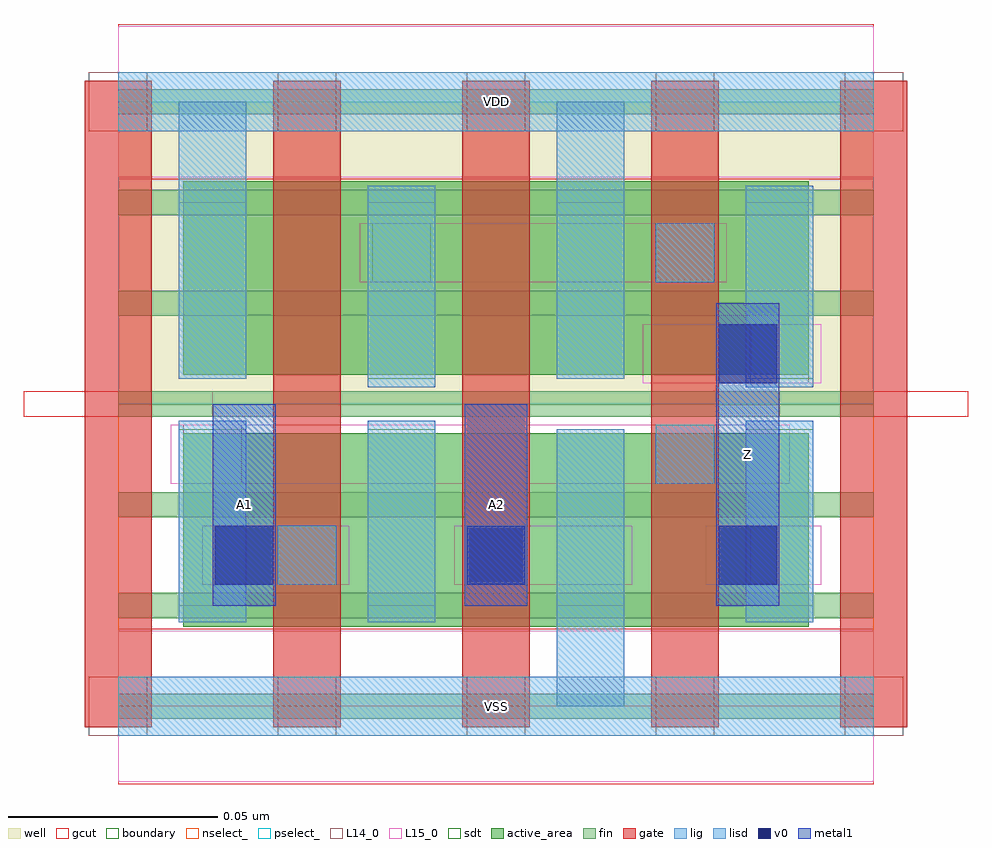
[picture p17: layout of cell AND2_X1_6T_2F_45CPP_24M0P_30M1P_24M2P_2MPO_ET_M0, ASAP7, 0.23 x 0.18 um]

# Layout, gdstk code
import gdstk
lib = gdstk.Library(unit=1e-6, precision=2.5e-10)
def R(c, l, rs):  # rectangles x0, y0, x1, y1
    for r in rs: c.add(gdstk.rectangle(r[:2], r[2:], *l))
def A(c, l, x, y, w, h, nx, ny, dx, dy):  # array of equal rectangles
    R(c, l, [(x+i*dx, y+j*dy, x+i*dx+w, y+j*dy+h) for i in range(nx) for j in range(ny)])
well = (1, 0)
fin = (2, 0)
gate = (7, 0)
gcut = (10, 0)
active_area = (11, 0)
nselect_ = (12, 0)
pselect_ = (13, 0)
L14_0 = (14, 0)
L15_0 = (15, 0)
lig = (16, 0)
lisd = (17, 0)
v0 = (18, 0)
metal1 = (19, 0)
sdt = (88, 0)
boundary = (100, 0)

and2_x1_6t_2f_45cpp_24m0 = lib.new_cell('AND2_X1_6T_2F_45CPP_24M0P_30M1P_24M2P_2MPO_ET_M0')
R(and2_x1_6t_2f_45cpp_24m0, well, [(0,0.072,0.18,0.144)])
A(and2_x1_6t_2f_45cpp_24m0, fin, 0, -0.003, 0.18, 0.006, 1, 7, 0, 0.024)
A(and2_x1_6t_2f_45cpp_24m0, gate, -0.008, -0.005, 0.016, 0.154, 5, 1, 0.045, 0)
R(and2_x1_6t_2f_45cpp_24m0, gcut, [(0,-0.0185,0.18,0.0185), (-0.0225,0.069,0.0225,0.075), (0.1575,0.069,0.2025,0.075), (0,0.1255,0.18,0.1625)])
A(and2_x1_6t_2f_45cpp_24m0, active_area, 0.0155, 0.019, 0.059, 0.046, 3, 2, 0.045, 0.06)
R(and2_x1_6t_2f_45cpp_24m0, nselect_, [(0,0,0.18,0.072)])
R(and2_x1_6t_2f_45cpp_24m0, pselect_, [(0,0.072,0.18,0.144)])
A(and2_x1_6t_2f_45cpp_24m0, L14_0, -0.007, -0.007, 0.014, 0.014, 5, 2, 0.045, 0.144)
R(and2_x1_6t_2f_45cpp_24m0, L14_0, [(0.038,0.029,0.052,0.043), (0.083,0.029,0.097,0.043), (0.1505,0.029,0.1645,0.043), (0.0155,0.053,0.0295,0.067), (0.128,0.053,0.142,0.067), (0.1505,0.077,0.1645,0.091), (0.0605,0.101,0.0745,0.115), (0.128,0.101,0.142,0.115)])
R(and2_x1_6t_2f_45cpp_24m0, L15_0, [(0,-0.018,0.18,0.018), (0.02,0.029,0.055,0.043), (0.08,0.029,0.1225,0.043), (0.14,0.029,0.1675,0.043), (0.0125,0.053,0.16,0.067), (0.125,0.077,0.1675,0.091), (0.0575,0.101,0.145,0.115), (0,0.126,0.18,0.162)])
R(and2_x1_6t_2f_45cpp_24m0, lig, [(0,-0.007,0.18,0.007), (0.038,0.029,0.052,0.043), (0.083,0.029,0.097,0.043), (0.128,0.053,0.142,0.067), (0.128,0.101,0.142,0.115), (0,0.137,0.18,0.151)])
R(and2_x1_6t_2f_45cpp_24m0, lisd, [(0.1045,0,0.1205,0.066), (0.0145,0.02,0.0305,0.068), (0.0595,0.02,0.0755,0.068), (0.1495,0.02,0.1655,0.068), (0.0595,0.076,0.0755,0.124), (0.1495,0.076,0.1655,0.124), (0.0145,0.078,0.0305,0.144), (0.1045,0.078,0.1205,0.144)])
A(and2_x1_6t_2f_45cpp_24m0, v0, 0.023, 0.029, 0.014, 0.014, 3, 1, 0.06, 0)
R(and2_x1_6t_2f_45cpp_24m0, v0, [(0.143,0.077,0.157,0.091)])
R(and2_x1_6t_2f_45cpp_24m0, metal1, [(0.0225,0.024,0.0375,0.072), (0.0825,0.024,0.0975,0.072), (0.1425,0.024,0.1575,0.096)])
A(and2_x1_6t_2f_45cpp_24m0, sdt, 0.0145, 0.024, 0.016, 0.042, 4, 2, 0.045, 0.054)
R(and2_x1_6t_2f_45cpp_24m0, boundary, [(0,0,0.18,0.144)])
and2_x1_6t_2f_45cpp_24m0.add(gdstk.Label('Z', (0.15,0.06), layer=19, texttype=251))
and2_x1_6t_2f_45cpp_24m0.add(gdstk.Label('A1', (0.03,0.048), layer=19, texttype=251))
and2_x1_6t_2f_45cpp_24m0.add(gdstk.Label('A2', (0.09,0.048), layer=19, texttype=251))
and2_x1_6t_2f_45cpp_24m0.add(gdstk.Label('VDD', (0.09,0.144), layer=15, texttype=251))
and2_x1_6t_2f_45cpp_24m0.add(gdstk.Label('VSS', (0.09,0), layer=15, texttype=251))
and2_x1_6t_2f_45cpp_24m0.add(gdstk.Label('VDD', (0.09,0.144), layer=1, texttype=251))
and2_x1_6t_2f_45cpp_24m0.add(gdstk.Label('VSS', (0.09,0), layer=3, texttype=251))

lib.write_gds('AND2_X1_6T_2F_45CPP_24M0P_30M1P_24M2P_2MPO_ET_M0.gds')
